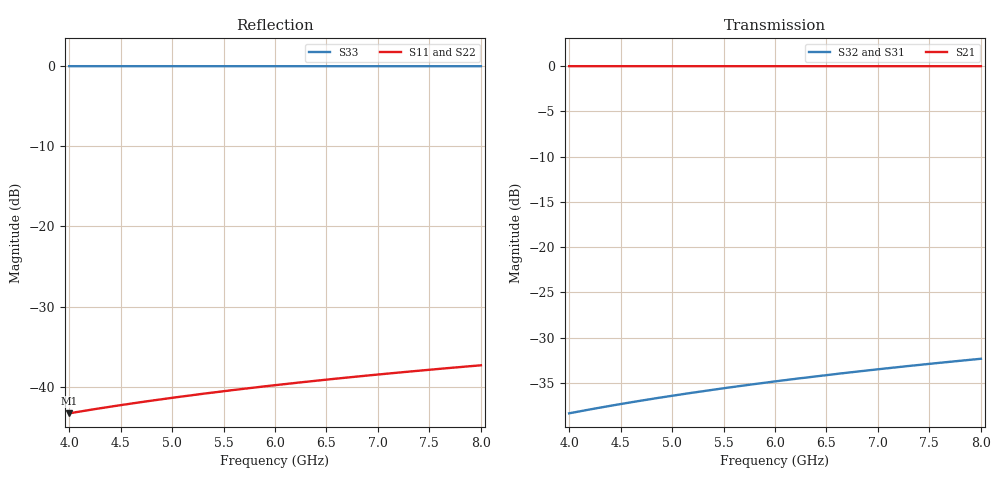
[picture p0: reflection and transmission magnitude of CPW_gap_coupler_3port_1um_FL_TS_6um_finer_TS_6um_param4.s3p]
! Sonnet Data File
! From: em Version : 15.52
! From Project: CPW_gap_coupler_3port_1um_FL_TS_6um_finer
! Data is De-embedded
! Data File Written: 08/14/2018 18:07:51
!< HDATE 08/14/2018 17:46:56
!< MDATE 08/14/2018 17:46:56
!< PARAMS
!< gap = 2.0
!< cpwS = 5.0
!< cpwS1 = 5.0
!< feedW = 12.0
!< feedS1 = 5.0
!< cond_length = 344.0
!< inner_length = 326.0
!< hangerW = 12.0000175
!< open_gap = 22.0
!< coupler_length = 350.0
!< END PARAMS
# GHZ S MA R 50.00000
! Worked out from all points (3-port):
!   201 points, 4 GHz to 8 GHz, reference 50 ohm
!   strongest paths, dB at 4 GHz, 5 GHz, 6 GHz, 7 GHz, 8 GHz:
!     S21: 0.0, 0.0, 0.0, 0.0, 0.0
!     S32: -38.4, -36.4, -34.8, -33.5, -32.3
!     S31: -38.4, -36.4, -34.9, -33.5, -32.4
!   lowest |S11| = -43.3 dB at 4 GHz (marker M1), VSWR 1.01, Z = 50.1 + j0.679 ohm
!   |S11| at or under -10 dB: start of sweep to end of sweep
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4  0.00682 84.2  0.9999 -9.2  0.01206 79.3
   0.9999 -9.2  0.006806 78.7  0.01207 82.0
   0.01206 79.3  0.01207 82.0  0.9999 -10.0
4.26  0.007262 83.8  0.9999 -9.8  0.01284 78.6
      0.9999 -9.8  0.007246 77.9  0.01285 81.5
      0.01284 78.6  0.01285 81.5  0.9998 -10.6
4.5  0.00767 83.4  0.9999 -10.3  0.01357 77.9
     0.9999 -10.3  0.007651 77.2  0.01358 81.0
     0.01357 77.9  0.01358 81.0  0.9998 -11.2
4.96  0.008452 82.8  0.9999 -11.4  0.01495 76.7
      0.9999 -11.4  0.008426 75.9  0.01497 80.1
      0.01495 76.7  0.01497 80.1  0.9998 -12.3
5.5  0.009369 82.0  0.9998 -12.7  0.01658 75.2
     0.9998 -12.7  0.009333 74.4  0.0166 79.0
     0.01658 75.2  0.0166 79.0  0.9997 -13.7
6  0.01022 81.2  0.9998 -13.8  0.01808 73.9
   0.9998 -13.8  0.01017 73.0  0.01811 78.0
   0.01808 73.9  0.01811 78.0  0.9997 -14.9
6.42  0.01093 80.6  0.9998 -14.8  0.01935 72.7
      0.9998 -14.8  0.01087 71.8  0.01938 77.1
      0.01935 72.7  0.01938 77.1  0.9996 -16.0
6.92  0.01177 79.9  0.9997 -15.9  0.02085 71.4
      0.9997 -15.9  0.0117 70.4  0.02089 76.1
      0.02085 71.4  0.02089 76.1  0.9996 -17.2
7.44  0.01265 79.1  0.9997 -17.1  0.02241 70.0
      0.9997 -17.1  0.01256 68.9  0.02246 75.1
      0.02241 70.0  0.02246 75.1  0.9995 -18.5
8  0.0136 78.3  0.9996 -18.4  0.02409 68.5
   0.9996 -18.4  0.01349 67.3  0.02416 73.9
   0.02409 68.5  0.02416 73.9  0.9994 -19.9
